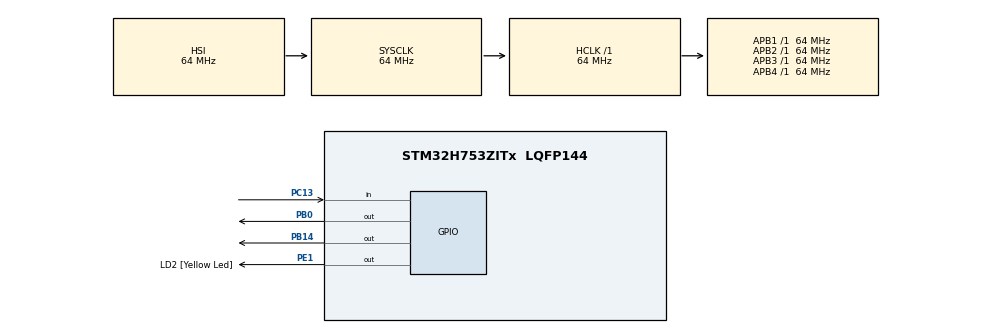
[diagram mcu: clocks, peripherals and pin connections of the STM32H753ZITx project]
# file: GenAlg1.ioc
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CORTEX_M7.CPU_DCache=Disabled
CORTEX_M7.CPU_ICache=Disabled
CORTEX_M7.MPU_Control=__NULL
CORTEX_M7.default_mode_Activation=1
Mcu.Family=STM32H7
Mcu.Name=STM32H753ZITx
Mcu.Package=LQFP144
NUCLEO-H753ZI.BUTTON=1
NUCLEO-H753ZI.Bsp_Common_DEMO=true
NUCLEO-H753ZI.LD1=true
NUCLEO-H753ZI.LD2=true
NUCLEO-H753ZI.LD3=true
NUCLEO-H753ZI.VCP=true
NVIC.EXTI15_10_IRQn=true\:0\:0\:false\:false\:true\:false\:true\:true
NVIC.PriorityGroup=NVIC_PRIORITYGROUP_4
PB0.Signal=GPIO_Output
PB14.Signal=GPIO_Output
PC13.Signal=GPIO_Input
PC14-OSC32_IN\ (OSC32_IN).Signal=RCC_OSC32_IN
PC15-OSC32_OUT\ (OSC32_OUT).Signal=RCC_OSC32_OUT
PD8.Signal=USART3_TX
PD9.Signal=USART3_RX
PE1.GPIO_Label=LD2 [Yellow Led]
PE1.Signal=GPIO_Output
PH0-OSC_IN\ (PH0).Signal=RCC_OSC_IN
PH1-OSC_OUT\ (PH1).Signal=RCC_OSC_OUT
ProjectManager.HeapSize=0x200
ProjectManager.StackSize=0x400
ProjectManager.TargetToolchain=STM32CubeIDE
RCC.ADCFreq_Value=129000000
RCC.APB1Freq_Value=64000000
RCC.APB2Freq_Value=64000000
RCC.APB3Freq_Value=64000000
RCC.APB4Freq_Value=64000000
RCC.CortexFreq_Value=64000000
RCC.DIVM1=1
RCC.DIVN1=24
RCC.DIVQ1=4
RCC.HCLKFreq_Value=64000000
RCC.HSE_VALUE=8000000
RCC.PLLFRACN=0
RCC.PWR_Regulator_Voltage_Scale=PWR_REGULATOR_VOLTAGE_SCALE2
RCC.SYSCLKFreq_VALUE=64000000
RCC.USBFreq_Value=384000000
VP_MEMORYMAP_VS_MEMORYMAP.Mode=CurAppReg
VP_NUCLEO-H753ZI_VS_BSP_COMMON.Mode=COMMON
board=NUCLEO-H753ZI

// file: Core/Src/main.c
/* USER CODE BEGIN Header */
/**
  ******************************************************************************
  * @file           : main.c
  * @brief          : Main program body
  ******************************************************************************
  * @attention
  *
  * Copyright (c) 2025 STMicroelectronics.
  * All rights reserved.
  *
  * This software is licensed under terms that can be found in the LICENSE file
  * in the root directory of this software component.
  * If no LICENSE file comes with this software, it is provided AS-IS.
  *
  ******************************************************************************
  */
/* USER CODE END Header */
#include "traveling_spaceship_ext.h"
#include "main.h"

COM_InitTypeDef BspCOMInit;
__IO uint32_t BspButtonState = BUTTON_RELEASED;

void SystemClock_Config(void);
static void MX_GPIO_Init(void);

int main(void)
{

  /* MCU Configuration--------------------------------------------------------*/

  /* Reset of all peripherals, Initializes the Flash interface and the Systick. */
  HAL_Init();

  /* Configure the system clock */
  SystemClock_Config();

  /* Initialize all configured peripherals */
  MX_GPIO_Init();

  /* Initialize leds */
  BSP_LED_Init(LED_GREEN);
  BSP_LED_Init(LED_BLUE);
  BSP_LED_Init(LED_RED);

  /* Initialize USER push-button, will be used to trigger an interrupt each time it's pressed.*/
  BSP_PB_Init(BUTTON_USER, BUTTON_MODE_EXTI);

  /* Initialize COM1 port (115200, 8 bits (7-bit data + 1 stop bit), no parity */
  BspCOMInit.BaudRate   = 115200;
  BspCOMInit.WordLength = COM_WORDLENGTH_8B;
  BspCOMInit.StopBits   = COM_STOPBITS_1;
  BspCOMInit.Parity     = COM_PARITY_NONE;
  BspCOMInit.HwFlowCtl  = COM_HWCONTROL_NONE;
  if (BSP_COM_Init(COM1, &BspCOMInit) != BSP_ERROR_NONE)
  {
    Error_Handler();
  }

  /* USER CODE BEGIN BSP */

  /* -- Sample board code to send message over COM1 port ---- */
  //printf("Welcome to STM32 world !\n\r");

  /* -- Sample board code to switch on leds ---- */
  BSP_LED_Off(LED_GREEN);
  BSP_LED_Off(LED_BLUE);
  BSP_LED_Off(LED_RED);

  /* USER CODE END BSP */

  /* Infinite loop */
  /* USER CODE BEGIN WHILE */
  while (1)
  {

	  timerCycleDataStruct timecycle;

	  double finalFitness = geneticAlgorithm(&timecycle);

	  BSP_LED_On(LED_GREEN);
	  BSP_LED_On(LED_BLUE);
	  BSP_LED_On(LED_RED);

#ifndef TIMINGDATA
	  printf("Final Fitness: %d    Time Elapsed: %ld    Cycle Count:%ld\n\r", (int)finalFitness, timecycle.timeElapsed, timecycle.cycleCount);
#else
	  printf("Final Fitness: %d\n\r", (int)finalFitness);
	  printf("Distance Matrix Time: %ld\n\r Distance Matrix Cycle:%ld\n\r", 				timecycle.DistanceMatrixTime, 				timecycle.DistanceMatrixCycle);
	  printf("Generate Population Time: %ld\n\r Generate Population Cycle:%ld\n\r", 		timecycle.GeneratePopulationTime, 			timecycle.GeneratePopulationCycle);
	  printf("Calculate Pop Fitness Time: %ld\n\r Calculate Pop Fitness Cycle:%ld\n\r", 	timecycle.CalculatePopulationFitnessTime, 	timecycle.CalculatePopulationFitnessCycle);
	  printf("Selection Sorting Time: %ld\n\r Selection Sorting Cycle:%ld\n\r", 			timecycle.SelectionSortingTime, 			timecycle.SelectionSortingCycle);
	  printf("Crossover Mutation Time: %ld\n\r Crossover Mutation Cycle:%ld\n\r", 			timecycle.CrossoverMutationTime, 			timecycle.CrossoverMutationCycle);

	  while(1);
#endif

    /* USER CODE END WHILE */

  }
}

void SystemClock_Config(void)
{
  RCC_OscInitTypeDef RCC_OscInitStruct = {0};
  RCC_ClkInitTypeDef RCC_ClkInitStruct = {0};

  /** Supply configuration update enable
  */
  HAL_PWREx_ConfigSupply(PWR_LDO_SUPPLY);

  /** Configure the main internal regulator output voltage
  */
  __HAL_PWR_VOLTAGESCALING_CONFIG(PWR_REGULATOR_VOLTAGE_SCALE2);

  while(!__HAL_PWR_GET_FLAG(PWR_FLAG_VOSRDY)) {}

  /** Initializes the RCC Oscillators according to the specified parameters
  * in the RCC_OscInitTypeDef structure.
  */
  RCC_OscInitStruct.OscillatorType = RCC_OSCILLATORTYPE_HSI;
  RCC_OscInitStruct.HSIState = RCC_HSI_DIV1;
  RCC_OscInitStruct.HSICalibrationValue = RCC_HSICALIBRATION_DEFAULT;
  RCC_OscInitStruct.PLL.PLLState = RCC_PLL_NONE;
  if (HAL_RCC_OscConfig(&RCC_OscInitStruct) != HAL_OK)
  {
    Error_Handler();
  }

  /** Initializes the CPU, AHB and APB buses clocks
  */
  RCC_ClkInitStruct.ClockType = RCC_CLOCKTYPE_HCLK|RCC_CLOCKTYPE_SYSCLK
                              |RCC_CLOCKTYPE_PCLK1|RCC_CLOCKTYPE_PCLK2
                              |RCC_CLOCKTYPE_D3PCLK1|RCC_CLOCKTYPE_D1PCLK1;
  RCC_ClkInitStruct.SYSCLKSource = RCC_SYSCLKSOURCE_HSI;
  RCC_ClkInitStruct.SYSCLKDivider = RCC_SYSCLK_DIV1;
  RCC_ClkInitStruct.AHBCLKDivider = RCC_HCLK_DIV1;
  RCC_ClkInitStruct.APB3CLKDivider = RCC_APB3_DIV1;
  RCC_ClkInitStruct.APB1CLKDivider = RCC_APB1_DIV1;
  RCC_ClkInitStruct.APB2CLKDivider = RCC_APB2_DIV1;
  RCC_ClkInitStruct.APB4CLKDivider = RCC_APB4_DIV1;

  if (HAL_RCC_ClockConfig(&RCC_ClkInitStruct, FLASH_LATENCY_1) != HAL_OK)
  {
    Error_Handler();
  }
}

static void MX_GPIO_Init(void)
{
  GPIO_InitTypeDef GPIO_InitStruct = {0};

  /* GPIO Ports Clock Enable */
  __HAL_RCC_GPIOC_CLK_ENABLE();
  __HAL_RCC_GPIOH_CLK_ENABLE();
  __HAL_RCC_GPIOE_CLK_ENABLE();

  /*Configure GPIO pin Output Level */
  HAL_GPIO_WritePin(LD2_GPIO_Port, LD2_Pin, GPIO_PIN_RESET);

  /*Configure GPIO pin : LD2_Pin */
  GPIO_InitStruct.Pin = LD2_Pin;
  GPIO_InitStruct.Mode = GPIO_MODE_OUTPUT_PP;
  GPIO_InitStruct.Pull = GPIO_NOPULL;
  GPIO_InitStruct.Speed = GPIO_SPEED_FREQ_LOW;
  HAL_GPIO_Init(LD2_GPIO_Port, &GPIO_InitStruct);

}

/**
  * @brief BSP Push Button callback
  * @param Button Specifies the pressed button
  * @retval None
  */
void BSP_PB_Callback(Button_TypeDef Button)
{
  if (Button == BUTTON_USER)
  {
    BspButtonState = BUTTON_PRESSED;
  }
}

void Error_Handler(void)
{
  __disable_irq();
  while (1)
  {
  }
}
